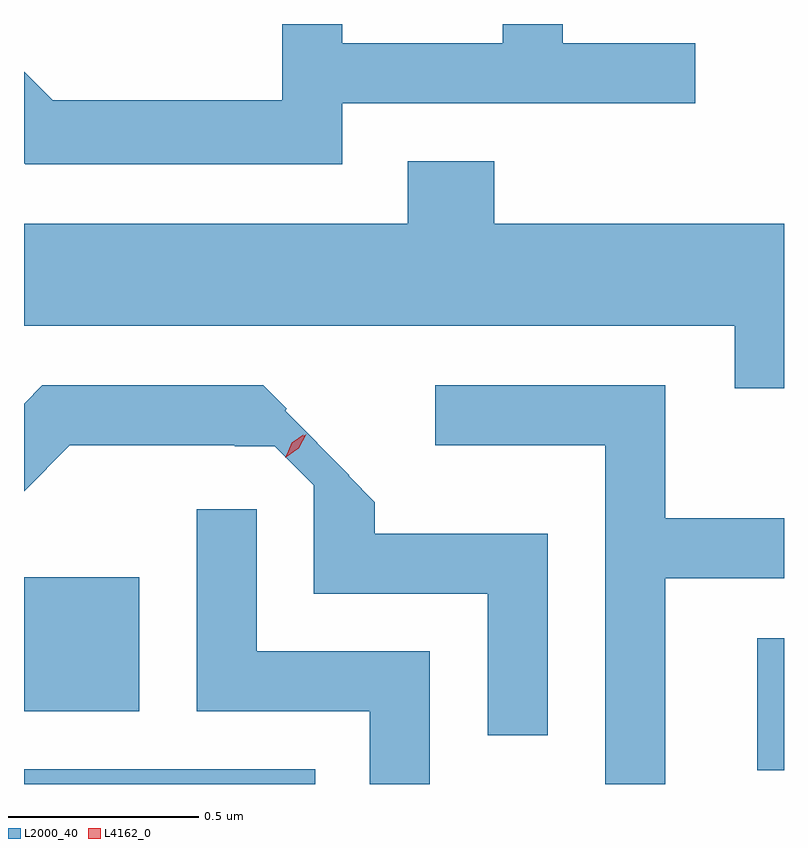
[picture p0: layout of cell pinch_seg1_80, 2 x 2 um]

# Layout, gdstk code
import gdstk
lib = gdstk.Library(unit=1e-6, precision=1e-09)
def R(c, l, rs):  # rectangles x0, y0, x1, y1
    for r in rs: c.add(gdstk.rectangle(r[:2], r[2:], *l))
def P(c, l, *ps):  # polygons
    for p in ps: c.add(gdstk.Polygon(p, *l))
L2000_40 = (2000, 40)
L4162_0 = (4162, 0)

pinch_seg1_80 = lib.new_cell('pinch_seg1_80')
R(pinch_seg1_80, L2000_40, [(1281.161,971.63,1281.928,971.669), (1283.091,971.666,1283.161,972.014), (1281.161,971.821,1281.464,972.174)])
P(pinch_seg1_80, L2000_40, [(1281.999,973.421),(1282.928,973.421),(1282.928,973.579),(1282.579,973.579),(1282.579,973.63),(1282.421,973.63),(1282.421,973.579),(1281.999,973.579),(1281.999,973.63),(1281.841,973.63),(1281.841,973.429),(1281.237,973.429),(1281.161,973.505),(1281.161,973.264),(1281.164,973.261),(1281.999,973.261)],
  [(1283.161,973.104),(1282.399,973.104),(1282.399,973.269),(1282.171,973.269),(1282.171,973.104),(1281.161,973.104),(1281.161,972.836),(1283.031,972.836),(1283.031,972.671),(1283.161,972.671)],
  [(1282.849,972.171),(1283.161,972.171),(1283.161,972.329),(1282.849,972.329),(1282.849,972.679),(1282.243,972.679),(1282.243,972.521),(1282.691,972.521),(1282.691,971.63),(1282.849,971.63)],
  [(1282.539,972.289),(1282.084,972.289),(1282.084,972.372),(1282.015,972.441),(1282.017,972.443),(1281.848,972.612),(1281.852,972.617),(1281.79,972.679),(1281.209,972.679),(1281.161,972.631),(1281.161,972.4),(1281.282,972.521),(1281.715,972.521),(1281.715,972.519),(1281.821,972.519),(1281.924,972.416),(1281.924,972.131),(1282.381,972.131),(1282.381,971.758),(1282.539,971.758)],
  [(1282.229,971.979),(1281.774,971.979),(1281.774,972.353),(1281.616,972.353),(1281.616,971.821),(1282.071,971.821),(1282.071,971.63),(1282.229,971.63)])
P(pinch_seg1_80, L4162_0, [(1281.848,972.489),(1281.848,972.49),(1281.869,972.527),(1281.904,972.55),(1281.904,972.55),(1281.904,972.55),(1281.884,972.513),(1281.849,972.489)],
  [(1281.852,972.495),(1281.852,972.496),(1281.866,972.528),(1281.896,972.549),(1281.896,972.549),(1281.896,972.548),(1281.882,972.515),(1281.852,972.495)])

lib.write_gds('pinch_seg1_80.gds')
